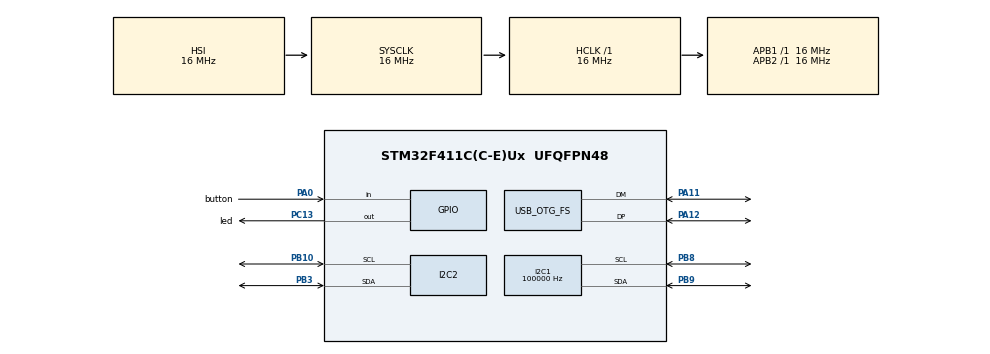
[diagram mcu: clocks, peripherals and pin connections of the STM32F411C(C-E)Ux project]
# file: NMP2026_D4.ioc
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board=custom
Dma.I2C1_RX.1.Direction=DMA_PERIPH_TO_MEMORY
Dma.I2C1_RX.1.FIFOMode=DMA_FIFOMODE_DISABLE
Dma.I2C1_RX.1.Instance=DMA1_Stream0
Dma.I2C1_RX.1.MemDataAlignment=DMA_MDATAALIGN_BYTE
Dma.I2C1_RX.1.MemInc=DMA_MINC_ENABLE
Dma.I2C1_RX.1.Mode=DMA_NORMAL
Dma.I2C1_RX.1.PeriphDataAlignment=DMA_PDATAALIGN_BYTE
Dma.I2C1_RX.1.PeriphInc=DMA_PINC_DISABLE
Dma.I2C1_RX.1.Priority=DMA_PRIORITY_LOW
Dma.I2C1_TX.0.Direction=DMA_MEMORY_TO_PERIPH
Dma.I2C1_TX.0.FIFOMode=DMA_FIFOMODE_DISABLE
Dma.I2C1_TX.0.Instance=DMA1_Stream1
Dma.I2C1_TX.0.MemDataAlignment=DMA_MDATAALIGN_BYTE
Dma.I2C1_TX.0.MemInc=DMA_MINC_ENABLE
Dma.I2C1_TX.0.Mode=DMA_NORMAL
Dma.I2C1_TX.0.PeriphDataAlignment=DMA_PDATAALIGN_BYTE
Dma.I2C1_TX.0.PeriphInc=DMA_PINC_DISABLE
Dma.I2C1_TX.0.Priority=DMA_PRIORITY_LOW
Dma.Request0=I2C1_TX
Dma.Request1=I2C1_RX
I2C1.ClockSpeed=100000
Mcu.Family=STM32F4
Mcu.Name=STM32F411C(C-E)Ux
Mcu.Package=UFQFPN48
NVIC.DMA1_Stream0_IRQn=true\:0\:0\:false\:false\:true\:false\:true\:true
NVIC.DMA1_Stream1_IRQn=true\:0\:0\:false\:false\:true\:false\:true\:true
NVIC.I2C1_ER_IRQn=true\:0\:0\:false\:false\:true\:true\:true\:true
NVIC.I2C1_EV_IRQn=true\:0\:0\:false\:false\:true\:true\:true\:true
NVIC.OTG_FS_IRQn=true\:0\:0\:false\:false\:true\:false\:true\:true
NVIC.PriorityGroup=NVIC_PRIORITYGROUP_4
PA0-WKUP.GPIO_Label=button
PA0-WKUP.GPIO_PuPd=GPIO_PULLUP
PA0-WKUP.Signal=GPIO_Input
PA11.Mode=Device_Only
PA11.Signal=USB_OTG_FS_DM
PA12.Mode=Device_Only
PA12.Signal=USB_OTG_FS_DP
PB10.Mode=I2C
PB10.Signal=I2C2_SCL
PB3.Mode=I2C
PB3.Signal=I2C2_SDA
PB8.GPIO_Pu=GPIO_PULLUP
PB8.Mode=I2C
PB8.Signal=I2C1_SCL
PB9.Mode=I2C
PB9.Signal=I2C1_SDA
PC13-ANTI_TAMP.GPIO_Label=led
PC13-ANTI_TAMP.Signal=GPIO_Output
PC14-OSC32_IN.Mode=LSE-External-Oscillator
PC14-OSC32_IN.Signal=RCC_OSC32_IN
PC15-OSC32_OUT.Mode=LSE-External-Oscillator
PC15-OSC32_OUT.Signal=RCC_OSC32_OUT
PH0\ -\ OSC_IN.Mode=HSE-External-Oscillator
PH0\ -\ OSC_IN.Signal=RCC_OSC_IN
PH1\ -\ OSC_OUT.Mode=HSE-External-Oscillator
PH1\ -\ OSC_OUT.Signal=RCC_OSC_OUT
ProjectManager.HeapSize=0x200
ProjectManager.StackSize=0x400
ProjectManager.TargetToolchain=STM32CubeIDE
RCC.48MHZClocksFreq_Value=48000000
RCC.AHBFreq_Value=16000000
RCC.APB1Freq_Value=16000000
RCC.APB2Freq_Value=16000000
RCC.CortexFreq_Value=16000000
RCC.HSE_VALUE=25000000
RCC.HSI_VALUE=16000000
RCC.PLLM=15
RCC.PLLN=144
RCC.PLLQ=5
RCC.SYSCLKFreq_VALUE=16000000
RCC.VCOOutputFreq_Value=240000000
USB_DEVICE.CLASS_NAME_FS=CDC
USB_DEVICE.VirtualMode=Cdc
USB_DEVICE.VirtualModeFS=Cdc_FS
USB_OTG_FS.VirtualMode=Device_Only
VP_USB_DEVICE_VS_USB_DEVICE_CDC_FS.Mode=CDC_FS

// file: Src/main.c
/* USER CODE BEGIN Header */
/**
  ******************************************************************************
  * @file           : main.c
  * @brief          : Main program body
  ******************************************************************************
  * @attention
  *
  * Copyright (c) 2026 STMicroelectronics.
  * All rights reserved.
  *
  * This software is licensed under terms that can be found in the LICENSE file
  * in the root directory of this software component.
  * If no LICENSE file comes with this software, it is provided AS-IS.
  *
  ******************************************************************************
  */
/* USER CODE END Header */
#include "main.h"                 //incudes all the necessary header files for the project
#include "usb_device.h"

/* USER CODE BEGIN Includes */
#include <stdio.h>
#include "usbd_cdc_if.h"
#include "scheduler.h"
#include "ring_buffer.h"
/* USER CODE END Includes */

I2C_HandleTypeDef hi2c1;            // I2C_handleTypeDef is a structure that contains the configuration information for the I2C module
I2C_HandleTypeDef hi2c2;            // hi2c1 and hi2c2 are used to talk to the accelerometer and the gyroscope by using the I2C protocol
DMA_HandleTypeDef hdma_i2c1_tx;     // declare the dma handle as an external variable so it can be used, improves speed and causes less cpu workload
DMA_HandleTypeDef hdma_i2c1_rx;     // the I2C module to transfers data directly to and from memory without involving the cpu

/* USER CODE BEGIN PV */
/* Private variables */
#define ADXL_ADDR   (0x53 << 1)     // address of the accelerometer, shifting 0x53 left by 1 gives 0xA6
#define POWER_CTL   0x2D            // measurement used to turn on the sensor and set the measurement mode
#define DATAX0      0x32            // register where the data for the x axis is stored

uint8_t init_data = 0x08;           // setting the measure bit
uint8_t raw_accel[6];               // array that stores the 6 data bytes from the sensor
int16_t x_axis, y_axis, z_axis;     // variables to store the converted acceleration values
/* USER CODE END PV */

void SystemClock_Config(void);       // function that configures the system clock
static void MX_GPIO_Init(void);      // function that initializes the GPIO pins
static void MX_DMA_Init(void);       // function that initializes the DMA controller
static void MX_I2C1_Init(void);      // functions that initializes the I2C1 and I2C2 peripheral
static void MX_I2C2_Init(void);

/* USER CODE BEGIN 0 */
int _write(int file, char *ptr, int length)                      // this allows the user to also view the print data
{
  while(CDC_Transmit_FS((uint8_t*)ptr, length) == USBD_BUSY)
  {
    HAL_Delay(1);                                                 // if it is busy it waits to send the data
  }
  return length;
}
/* USER CODE END 0 */

int main(void)
{

  /* MCU Configuration--------------------------------------------------------*/

  /* Reset of all peripherals, Initializes the Flash interface and the Systick. */
  HAL_Init();

  /* Configure the system clock */
  SystemClock_Config();

  /* Initialize all configured *peripherals */

  MX_GPIO_Init();               // function that initializes the GPIO pins
  MX_DMA_Init();                // function that initializes the DMA controller
  MX_USB_DEVICE_Init();         // function that initializes the USB device
  MX_I2C1_Init();               // function that initializes the I2C1 peripheral
  MX_I2C2_Init();               // function that initializes the I2C2 peripheral

  /* USER CODE BEGIN 2 */
  HAL_I2C_Mem_Write(&hi2c1, ADXL_ADDR, POWER_CTL, I2C_MEMADD_SIZE_8BIT, &init_data, 1, 100);     // turns accelerometer on and starts measuring acceleration data
  HAL_Delay(10);                                                                                 // delay to allow the sensor to process the command
  /* USER CODE END 2 */

  /* Infinite loop */
  /* USER CODE BEGIN WHILE */
  while (1)
  {
    task_one();
    HAL_Delay(10);                   // Delay to allow for I2C communication and processing
    task_two();
    HAL_Delay(10);                   // Delay to allow for I2C communication and processing
    task_three();
    HAL_Delay(50);                   // Delay to allow for I2C communication and processing

    /* USER CODE END WHILE */

  }
}

void SystemClock_Config(void)
{
  RCC_OscInitTypeDef RCC_OscInitStruct = {0};
  RCC_ClkInitTypeDef RCC_ClkInitStruct = {0};

  /** Configure the main internal regulator output voltage
  */
  __HAL_RCC_PWR_CLK_ENABLE();
  __HAL_PWR_VOLTAGESCALING_CONFIG(PWR_REGULATOR_VOLTAGE_SCALE1);

  /** Initializes the RCC Oscillators according to the specified parameters
  * in the RCC_OscInitTypeDef structure.
  */
  RCC_OscInitStruct.OscillatorType = RCC_OSCILLATORTYPE_HSI|RCC_OSCILLATORTYPE_HSE;
  RCC_OscInitStruct.HSEState = RCC_HSE_ON;
  RCC_OscInitStruct.HSIState = RCC_HSI_ON;
  RCC_OscInitStruct.HSICalibrationValue = RCC_HSICALIBRATION_DEFAULT;
  RCC_OscInitStruct.PLL.PLLState = RCC_PLL_ON;
  RCC_OscInitStruct.PLL.PLLSource = RCC_PLLSOURCE_HSE;
  RCC_OscInitStruct.PLL.PLLM = 15;
  RCC_OscInitStruct.PLL.PLLN = 144;
  RCC_OscInitStruct.PLL.PLLP = RCC_PLLP_DIV2;
  RCC_OscInitStruct.PLL.PLLQ = 5;
  if (HAL_RCC_OscConfig(&RCC_OscInitStruct) != HAL_OK)
  {
    Error_Handler();
  }

  /** Initializes the CPU, AHB and APB buses clocks
  */
  RCC_ClkInitStruct.ClockType = RCC_CLOCKTYPE_HCLK|RCC_CLOCKTYPE_SYSCLK
                              |RCC_CLOCKTYPE_PCLK1|RCC_CLOCKTYPE_PCLK2;
  RCC_ClkInitStruct.SYSCLKSource = RCC_SYSCLKSOURCE_HSI;
  RCC_ClkInitStruct.AHBCLKDivider = RCC_SYSCLK_DIV1;
  RCC_ClkInitStruct.APB1CLKDivider = RCC_HCLK_DIV1;
  RCC_ClkInitStruct.APB2CLKDivider = RCC_HCLK_DIV1;

  if (HAL_RCC_ClockConfig(&RCC_ClkInitStruct, FLASH_LATENCY_0) != HAL_OK)
  {
    Error_Handler();
  }
}

static void MX_I2C1_Init(void)
{

  hi2c1.Instance = I2C1;
  hi2c1.Init.ClockSpeed = 100000;
  hi2c1.Init.DutyCycle = I2C_DUTYCYCLE_2;
  hi2c1.Init.OwnAddress1 = 0;
  hi2c1.Init.AddressingMode = I2C_ADDRESSINGMODE_7BIT;
  hi2c1.Init.DualAddressMode = I2C_DUALADDRESS_DISABLE;
  hi2c1.Init.OwnAddress2 = 0;
  hi2c1.Init.GeneralCallMode = I2C_GENERALCALL_DISABLE;
  hi2c1.Init.NoStretchMode = I2C_NOSTRETCH_DISABLE;
  if (HAL_I2C_Init(&hi2c1) != HAL_OK)
  {
    Error_Handler();
  }

}

static void MX_I2C2_Init(void)
{

  hi2c2.Instance = I2C2;
  hi2c2.Init.ClockSpeed = 100000;
  hi2c2.Init.DutyCycle = I2C_DUTYCYCLE_2;
  hi2c2.Init.OwnAddress1 = 0;
  hi2c2.Init.AddressingMode = I2C_ADDRESSINGMODE_7BIT;
  hi2c2.Init.DualAddressMode = I2C_DUALADDRESS_DISABLE;
  hi2c2.Init.OwnAddress2 = 0;
  hi2c2.Init.GeneralCallMode = I2C_GENERALCALL_DISABLE;
  hi2c2.Init.NoStretchMode = I2C_NOSTRETCH_DISABLE;
  if (HAL_I2C_Init(&hi2c2) != HAL_OK)
  {
    Error_Handler();
  }

}

static void MX_DMA_Init(void)
{

  /* DMA controller clock enable */
  __HAL_RCC_DMA1_CLK_ENABLE();

  /* DMA interrupt init */
  /* DMA1_Stream0_IRQn interrupt configuration */
  HAL_NVIC_SetPriority(DMA1_Stream0_IRQn, 0, 0);
  HAL_NVIC_EnableIRQ(DMA1_Stream0_IRQn);
  /* DMA1_Stream1_IRQn interrupt configuration */
  HAL_NVIC_SetPriority(DMA1_Stream1_IRQn, 0, 0);
  HAL_NVIC_EnableIRQ(DMA1_Stream1_IRQn);

}

static void MX_GPIO_Init(void)
{
  GPIO_InitTypeDef GPIO_InitStruct = {0};

  /* GPIO Ports Clock Enable */
  __HAL_RCC_GPIOC_CLK_ENABLE();
  __HAL_RCC_GPIOH_CLK_ENABLE();
  __HAL_RCC_GPIOA_CLK_ENABLE();
  __HAL_RCC_GPIOB_CLK_ENABLE();

  /*Configure GPIO pin Output Level */
  HAL_GPIO_WritePin(led_GPIO_Port, led_Pin, GPIO_PIN_RESET);

  /*Configure GPIO pin : led_Pin */
  GPIO_InitStruct.Pin = led_Pin;
  GPIO_InitStruct.Mode = GPIO_MODE_OUTPUT_PP;
  GPIO_InitStruct.Pull = GPIO_NOPULL;
  GPIO_InitStruct.Speed = GPIO_SPEED_FREQ_LOW;
  HAL_GPIO_Init(led_GPIO_Port, &GPIO_InitStruct);

  /*Configure GPIO pin : button_Pin */
  GPIO_InitStruct.Pin = button_Pin;
  GPIO_InitStruct.Mode = GPIO_MODE_INPUT;
  GPIO_InitStruct.Pull = GPIO_PULLUP;
  HAL_GPIO_Init(button_GPIO_Port, &GPIO_InitStruct);

}

void Error_Handler(void)
{
  __disable_irq();
  while (1)
  {
  }
}
